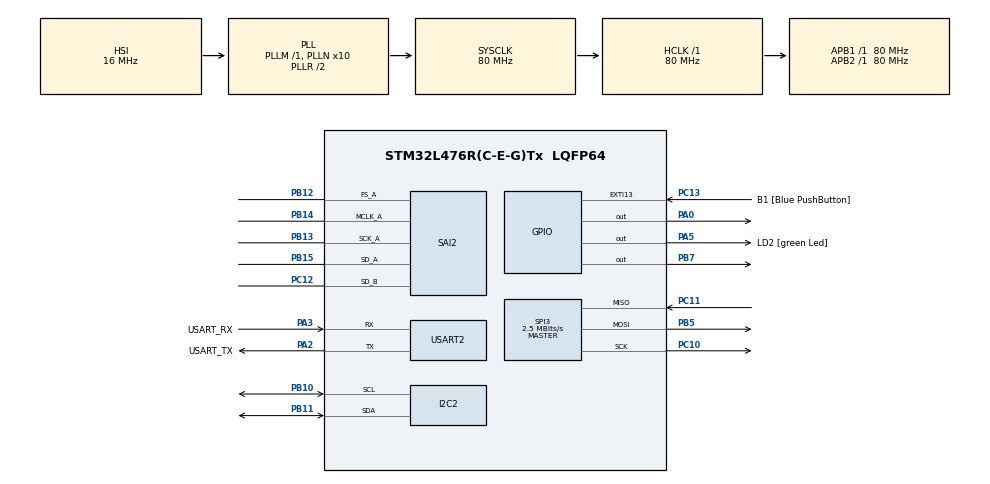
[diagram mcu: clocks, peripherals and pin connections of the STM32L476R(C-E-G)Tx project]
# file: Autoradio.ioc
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Dma.Request0=SAI2_A
Dma.Request1=SAI2_B
Dma.SAI2_A.0.Direction=DMA_MEMORY_TO_PERIPH
Dma.SAI2_A.0.Instance=DMA1_Channel6
Dma.SAI2_A.0.MemDataAlignment=DMA_MDATAALIGN_WORD
Dma.SAI2_A.0.MemInc=DMA_MINC_ENABLE
Dma.SAI2_A.0.Mode=DMA_CIRCULAR
Dma.SAI2_A.0.PeriphDataAlignment=DMA_PDATAALIGN_WORD
Dma.SAI2_A.0.PeriphInc=DMA_PINC_DISABLE
Dma.SAI2_A.0.Priority=DMA_PRIORITY_LOW
Dma.SAI2_B.1.Direction=DMA_PERIPH_TO_MEMORY
Dma.SAI2_B.1.Instance=DMA1_Channel7
Dma.SAI2_B.1.MemDataAlignment=DMA_MDATAALIGN_WORD
Dma.SAI2_B.1.MemInc=DMA_MINC_ENABLE
Dma.SAI2_B.1.Mode=DMA_CIRCULAR
Dma.SAI2_B.1.PeriphDataAlignment=DMA_PDATAALIGN_WORD
Dma.SAI2_B.1.PeriphInc=DMA_PINC_DISABLE
Dma.SAI2_B.1.Priority=DMA_PRIORITY_LOW
FREERTOS.Tasks01=defaultTask,0,128,StartDefaultTask,Default,NULL,Dynamic,NULL,NULL
I2C2.Timing=0x10D19CE4
Mcu.Family=STM32L4
Mcu.Name=STM32L476R(C-E-G)Tx
Mcu.Package=LQFP64
NVIC.DMA1_Channel6_IRQn=true\:5\:0\:false\:false\:true\:true\:false\:true\:true
NVIC.DMA1_Channel7_IRQn=true\:5\:0\:false\:false\:true\:true\:false\:true\:true
NVIC.PriorityGroup=NVIC_PRIORITYGROUP_4
NVIC.SAI2_IRQn=true\:5\:0\:false\:false\:true\:true\:true\:true\:true
NVIC.USART2_IRQn=true\:5\:0\:false\:false\:true\:true\:true\:true\:true
PA0.Signal=GPIO_Output
PA13\ (JTMS-SWDIO).GPIO_Label=TMS
PA13\ (JTMS-SWDIO).Mode=Serial_Wire
PA13\ (JTMS-SWDIO).Signal=SYS_JTMS-SWDIO
PA14\ (JTCK-SWCLK).GPIO_Label=TCK
PA14\ (JTCK-SWCLK).Mode=Serial_Wire
PA14\ (JTCK-SWCLK).Signal=SYS_JTCK-SWCLK
PA2.GPIO_Label=USART_TX
PA2.GPIO_Mode=GPIO_MODE_AF_PP
PA2.GPIO_PuPd=GPIO_NOPULL
PA2.GPIO_Speed=GPIO_SPEED_FREQ_VERY_HIGH
PA2.Mode=Asynchronous
PA2.Signal=USART2_TX
PA3.GPIO_Label=USART_RX
PA3.GPIO_Mode=GPIO_MODE_AF_PP
PA3.GPIO_PuPd=GPIO_NOPULL
PA3.GPIO_Speed=GPIO_SPEED_FREQ_VERY_HIGH
PA3.Mode=Asynchronous
PA3.Signal=USART2_RX
PA5.GPIO_Label=LD2 [green Led]
PA5.GPIO_ModeDefaultOutputPP=GPIO_MODE_OUTPUT_PP
PA5.GPIO_PuPd=GPIO_NOPULL
PA5.GPIO_Speed=GPIO_SPEED_FREQ_LOW
PA5.Signal=GPIO_Output
PB10.Mode=I2C
PB10.Signal=I2C2_SCL
PB11.Mode=I2C
PB11.Signal=I2C2_SDA
PB12.Mode=SAI_A_MasterWithClock
PB12.Signal=SAI2_FS_A
PB13.Mode=SAI_A_MasterWithClock
PB13.Signal=SAI2_SCK_A
PB14.Mode=SAI_A_MasterWithClock
PB14.Signal=SAI2_MCLK_A
PB15.Mode=SAI_A_MasterWithClock
PB15.Signal=SAI2_SD_A
PB3\ (JTDO-TRACESWO).GPIO_Label=SWO
PB3\ (JTDO-TRACESWO).Signal=SYS_JTDO-SWO
PB5.Mode=Full_Duplex_Master
PB5.Signal=SPI3_MOSI
PB7.Signal=GPIO_Output
PC10.Mode=Full_Duplex_Master
PC10.Signal=SPI3_SCK
PC11.Mode=Full_Duplex_Master
PC11.Signal=SPI3_MISO
PC12.Mode=SAI_B_SyncSlave
PC12.Signal=SAI2_SD_B
PC13.GPIO_Label=B1 [Blue PushButton]
PC13.GPIO_ModeDefaultEXTI=GPIO_MODE_IT_FALLING
PC13.GPIO_PuPd=GPIO_NOPULL
PC13.Signal=GPXTI13
PC14-OSC32_IN\ (PC14).Mode=LSE-External-Oscillator
PC14-OSC32_IN\ (PC14).Signal=RCC_OSC32_IN
PC15-OSC32_OUT\ (PC15).Mode=LSE-External-Oscillator
PC15-OSC32_OUT\ (PC15).Signal=RCC_OSC32_OUT
PH0-OSC_IN\ (PH0).Signal=RCC_OSC_IN
PH1-OSC_OUT\ (PH1).Signal=RCC_OSC_OUT
ProjectManager.HeapSize=0x200
ProjectManager.StackSize=0x400
ProjectManager.TargetToolchain=STM32CubeIDE
RCC.ADCFreq_Value=104000000
RCC.AHBFreq_Value=80000000
RCC.APB1Freq_Value=80000000
RCC.APB1TimFreq_Value=80000000
RCC.APB2Freq_Value=80000000
RCC.APB2TimFreq_Value=80000000
RCC.CortexFreq_Value=80000000
RCC.HCLKFreq_Value=80000000
RCC.HSE_VALUE=8000000
RCC.HSI_VALUE=16000000
RCC.MSI_VALUE=4000000
RCC.PLLN=10
RCC.PLLSAI1N=13
RCC.PLLSAI1P=RCC_PLLP_DIV17
RCC.PLLSourceVirtual=RCC_PLLSOURCE_HSI
RCC.PREFETCH_ENABLE=1
RCC.SYSCLKFreq_VALUE=80000000
RCC.SYSCLKSource=RCC_SYSCLKSOURCE_PLLCLK
RCC.USBFreq_Value=104000000
RCC.VCOOutputFreq_Value=160000000
SAI2.AudioFrequency-SAI_A_MasterWithClock=SAI_AUDIO_FREQUENCY_48K
SAI2.ErrorAudioFreq-SAI_A_MasterWithClock=-0.42 %
SAI2.InitProtocol-SAI_A_MasterWithClock=Enable
SAI2.InitProtocol-SAI_B_SyncSlave=Enable
SAI2.Instance-SAI_A_MasterWithClock=SAI$Index_Block_A
SAI2.Instance-SAI_B_SyncSlave=SAI$Index_Block_B
SAI2.MClockEnable-SAI_A_MasterWithClock=SAI_MASTERCLOCK_ENABLE
SAI2.RealAudioFreq-SAI_A_MasterWithClock=47.794 KHz
SAI2.VirtualMode-SAI_A_MasterWithClock=VM_MASTER
SAI2.VirtualMode-SAI_B_SyncSlave=VM_SLAVE
SAI2.VirtualProtocol-SAI_A_BASIC=VM_BASIC_PROTOCOL
SAI2.VirtualProtocol-SAI_B_BASIC=VM_BASIC_PROTOCOL
SPI3.BaudRatePrescaler=SPI_BAUDRATEPRESCALER_32
SPI3.CalculateBaudRate=2.5 MBits/s
SPI3.DataSize=SPI_DATASIZE_8BIT
SPI3.Direction=SPI_DIRECTION_2LINES
SPI3.Mode=SPI_MODE_MASTER
SPI3.VirtualType=VM_MASTER
USART2.VirtualMode-Asynchronous=VM_ASYNC
VP_FREERTOS_VS_CMSIS_V1.Mode=CMSIS_V1
VP_SAI2_VP_$IpInstance_SAIA_SAI_BASIC.Mode=SAI_A_BASIC
VP_SAI2_VP_$IpInstance_SAIB_SAI_BASIC.Mode=SAI_B_BASIC
board=NUCLEO-L476RG

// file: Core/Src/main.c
/* USER CODE BEGIN Header */
/**
  ******************************************************************************
  * @file           : main.c
  * @brief          : Main program body
  ******************************************************************************
  * @attention
  *
  * Copyright (c) 2025 STMicroelectronics.
  * All rights reserved.
  *
  * This software is licensed under terms that can be found in the LICENSE file
  * in the root directory of this software component.
  * If no LICENSE file comes with this software, it is provided AS-IS.
  *
  ******************************************************************************
  */
/* USER CODE END Header */
#include "main.h"
#include "cmsis_os.h"
#include "dma.h"
#include "i2c.h"
#include "sai.h"
#include "spi.h"
#include "usart.h"
#include "gpio.h"

/* USER CODE BEGIN Includes */
#include <stdio.h>
#include <stdlib.h>
#include "shell.h"
#include "sgtl5000.h"
#include <stdint.h>
/* USER CODE END Includes */

/* USER CODE BEGIN PD */
#define QUEUE_LENGTH 5
#define QUEUE_ITEM_SIZE sizeof(uint32_t)
#define BUFF_SIZE 2048

#define SAMPLE_RATE     48000.0f  // Fréquence d'échantillonnage (48kHz)
#define TRIANGLE_FREQ   220.0f // Fréquence du son (La 440)
#define AMPLITUDE       15000     // Volume max (int16 max est 32767)
/* USER CODE END PD */

/* USER CODE BEGIN PV */
QueueHandle_t counterQueue;
#define AUDIO_BUFFER_SIZE 2048
uint8_t tx_buffer[AUDIO_BUFFER_SIZE]; // Buffer d'émission (vers DAC/Codec)
uint8_t rx_buffer[AUDIO_BUFFER_SIZE]; // Buffer de réception (depuis ADC/Micro)
/* USER CODE END PV */

void SystemClock_Config(void);
void PeriphCommonClock_Config(void);
void MX_FREERTOS_Init(void);
/* USER CODE BEGIN PFP */
static int fonction(h_shell_t *shell, int argc, char **argv);
static int addition(h_shell_t *shell, int argc, char **argv);
static int led(h_shell_t *shell, int argc, char **argv);
void task_shell(void *unused);
/* USER CODE END PFP */

/* USER CODE BEGIN 0 */
int __io_putchar(int chr)
{
    HAL_UART_Transmit(&huart2, (uint8_t*)&chr, 1, HAL_MAX_DELAY);
    return chr;
}

static int fonction(h_shell_t *shell, int argc, char **argv)
{
    int size;
    size = snprintf(shell->print_buffer, BUFFER_SIZE, "Je suis une fonction bidon\r\n");
    shell_uart_write(shell->print_buffer, size);
    size = snprintf(shell->print_buffer, BUFFER_SIZE, "argc=%d\r\n", argc);
    shell_uart_write(shell->print_buffer, size);
    for (int i = 0; i < argc; i++)
    {
        size = snprintf(shell->print_buffer, BUFFER_SIZE, "argv[%d]=%s\r\n", i, argv[i]);
        shell_uart_write(shell->print_buffer, size);
    }
    return 0;
}

static int addition(h_shell_t *shell, int argc, char **argv)
{
    int sum = 0;
    for (int i = 1; i < argc; i++)
    {
        sum += atoi(argv[i]); // atoi conversion chaine de caractère en entier
    }
    int size = snprintf(shell->print_buffer, BUFFER_SIZE, "sum=%d\r\n", sum);
    shell_uart_write(shell->print_buffer, size);
    return 0;
}

void task_shell(void *unused)
{
    static h_shell_t shell_instance; // Instance statique de la structure

    shell_init(&shell_instance);
    shell_add(&shell_instance, 'f', fonction, "Une fonction inutile");
    shell_add(&shell_instance, 'a', addition, "Ma super addition");
    shell_add(&shell_instance, 'l', led, "put ledx in x");

    shell_run(&shell_instance); // Contient une boucle infinie

    // Ne sera jamais atteint, mais pour la forme
    vTaskDelete(NULL);
}

void HAL_UART_RxCpltCallback(UART_HandleTypeDef *huart)
{
    if (huart == &huart2)
    {
        shell_uart_rx_callback();
    }
}

static int led(h_shell_t *shell, int argc, char **argv)
{
	int size;
    for (int i = 0; i < argc; i++)
    {
        size = snprintf(shell->print_buffer, BUFFER_SIZE, "argv[%d]=%s\r\n", i, argv[i]);
        shell_uart_write(shell->print_buffer, size);
    }
	if (argc != 3){
		Error_Handler();
	}
	if (atoi(argv[2]) == 1){
		MCP23S17_SetLed(atoi(argv[1]));
		printf("La LED s'allume.\r\n");
	}
	else if (atoi(argv[2]) == 0){
		MCP23S17_ClearLed(atoi(argv[1]));
		printf("La LED s'éteint.\r\n");
	}
	return 0;
}

void Generate_Triangle_Wave(uint8_t *buffer, uint32_t sizeInBytes) {
    int16_t *pSample = (int16_t *)buffer;

    // 16 bits = 2 octets. Stereo = 2 canaux.
    // Donc 1 "Frame" audio (Gauche + Droite) = 4 octets.
    uint32_t totalFrames = sizeInBytes / 4;

    // On divise le buffer en deux phases : Montée et Descente
    uint32_t halfPeriod = totalFrames / 2;

    int16_t amplitude = 15000;
    float step = (float)(amplitude * 2) / (float)halfPeriod;
    float currentVal = -15000.0f;

    // Phase 1 : Montée
    for (uint32_t i = 0; i < halfPeriod; i++) {
        int16_t val = (int16_t)currentVal;

        pSample[i * 2]     = val; // Canal Gauche
        pSample[i * 2 + 1] = val; // Canal Droit (identique pour du mono centré)

        currentVal += step;
    }

    // Phase 2 : Descente
    currentVal = 15000.0f;
    for (uint32_t i = halfPeriod; i < totalFrames; i++) {
        int16_t val = (int16_t)currentVal;

        pSample[i * 2]     = val;
        pSample[i * 2 + 1] = val;

        currentVal -= step;
    }
}

/* USER CODE END 0 */

int main(void)
{

  /* MCU Configuration--------------------------------------------------------*/

  /* Reset of all peripherals, Initializes the Flash interface and the Systick. */
  HAL_Init();

  /* Configure the system clock */
  SystemClock_Config();

  /* Configure the peripherals common clocks */
  PeriphCommonClock_Config();

  /* Initialize all configured peripherals */
  MX_GPIO_Init();
  MX_DMA_Init();
  MX_USART2_UART_Init();
  MX_SPI3_Init();
  MX_I2C2_Init();
  MX_SAI2_Init();
  /* USER CODE BEGIN 2 */

  MCP23S17_Init();
  //HAL_Delay(1000);
  MCP23S17_SetAllPinsLow();
  //MCP23S17_SetLed(10);

  __HAL_SAI_ENABLE(&hsai_BlockA2);

  // Création de la queue
  counterQueue = xQueueCreate(QUEUE_LENGTH, QUEUE_ITEM_SIZE);
  if (counterQueue == NULL) {
      Error_Handler();
  }

  // Création de la tâche shell
  if (xTaskCreate(task_shell, "Shell", 512, NULL, 1, NULL) != pdPASS)
  {
      printf("Error creating task Shell\r\n");
      Error_Handler();
  }

  uint8_t chip_id = 0;
  HAL_I2C_Mem_Read(&hi2c2, 0x14, 0x0000, I2C_MEMADD_SIZE_16BIT, &chip_id, 1, HAL_MAX_DELAY);

  uint16_t sgtl_address = 0x14;
	uint16_t data;

	h_sgtl5000_t h_sgtl5000;
	h_sgtl5000.hi2c = &hi2c2;
	h_sgtl5000.dev_address = sgtl_address;

	sgtl5000_init(&h_sgtl5000);
	sgtl5000_i2c_write_register(&h_sgtl5000, SGTL5000_CHIP_ANA_CTRL, 0x0000); // SELECT_ADC=MIC

	//Generate_Triangle_Wave(tx_buffer, AUDIO_BUFFER_SIZE);
	//generateSquare(txBuffer, AUDIO_BUFFER_SIZE, 30000);
	if (HAL_SAI_Transmit_DMA(&hsai_BlockA2, tx_buffer, AUDIO_BUFFER_SIZE/ 4) != HAL_OK)
	{
		printf("Erreur demarrage SAI TX DMA\r\n");
		Error_Handler();
	}

	if (HAL_SAI_Receive_DMA(&hsai_BlockB2, rx_buffer, AUDIO_BUFFER_SIZE/ 4) != HAL_OK)
	{
		printf("Erreur demarrage SAI RX DMA\r\n");
		Error_Handler();
	}

  /* USER CODE END 2 */

  /* Call init function for freertos objects (in cmsis_os2.c) */
  MX_FREERTOS_Init();

  /* Start scheduler */
  osKernelStart();

  /* We should never get here as control is now taken by the scheduler */

  /* Infinite loop */
  while (1)
  {

  }
}

void SystemClock_Config(void)
{
  RCC_OscInitTypeDef RCC_OscInitStruct = {0};
  RCC_ClkInitTypeDef RCC_ClkInitStruct = {0};

  /** Configure the main internal regulator output voltage
  */
  if (HAL_PWREx_ControlVoltageScaling(PWR_REGULATOR_VOLTAGE_SCALE1) != HAL_OK)
  {
    Error_Handler();
  }

  /** Initializes the RCC Oscillators according to the specified parameters
  * in the RCC_OscInitTypeDef structure.
  */
  RCC_OscInitStruct.OscillatorType = RCC_OSCILLATORTYPE_HSI;
  RCC_OscInitStruct.HSIState = RCC_HSI_ON;
  RCC_OscInitStruct.HSICalibrationValue = RCC_HSICALIBRATION_DEFAULT;
  RCC_OscInitStruct.PLL.PLLState = RCC_PLL_ON;
  RCC_OscInitStruct.PLL.PLLSource = RCC_PLLSOURCE_HSI;
  RCC_OscInitStruct.PLL.PLLM = 1;
  RCC_OscInitStruct.PLL.PLLN = 10;
  RCC_OscInitStruct.PLL.PLLP = RCC_PLLP_DIV7;
  RCC_OscInitStruct.PLL.PLLQ = RCC_PLLQ_DIV2;
  RCC_OscInitStruct.PLL.PLLR = RCC_PLLR_DIV2;
  if (HAL_RCC_OscConfig(&RCC_OscInitStruct) != HAL_OK)
  {
    Error_Handler();
  }

  /** Initializes the CPU, AHB and APB buses clocks
  */
  RCC_ClkInitStruct.ClockType = RCC_CLOCKTYPE_HCLK|RCC_CLOCKTYPE_SYSCLK
                              |RCC_CLOCKTYPE_PCLK1|RCC_CLOCKTYPE_PCLK2;
  RCC_ClkInitStruct.SYSCLKSource = RCC_SYSCLKSOURCE_PLLCLK;
  RCC_ClkInitStruct.AHBCLKDivider = RCC_SYSCLK_DIV1;
  RCC_ClkInitStruct.APB1CLKDivider = RCC_HCLK_DIV1;
  RCC_ClkInitStruct.APB2CLKDivider = RCC_HCLK_DIV1;

  if (HAL_RCC_ClockConfig(&RCC_ClkInitStruct, FLASH_LATENCY_4) != HAL_OK)
  {
    Error_Handler();
  }
}

void PeriphCommonClock_Config(void)
{
  RCC_PeriphCLKInitTypeDef PeriphClkInit = {0};

  /** Initializes the peripherals clock
  */
  PeriphClkInit.PeriphClockSelection = RCC_PERIPHCLK_SAI2;
  PeriphClkInit.Sai2ClockSelection = RCC_SAI2CLKSOURCE_PLLSAI1;
  PeriphClkInit.PLLSAI1.PLLSAI1Source = RCC_PLLSOURCE_HSI;
  PeriphClkInit.PLLSAI1.PLLSAI1M = 1;
  PeriphClkInit.PLLSAI1.PLLSAI1N = 13;
  PeriphClkInit.PLLSAI1.PLLSAI1P = RCC_PLLP_DIV17;
  PeriphClkInit.PLLSAI1.PLLSAI1Q = RCC_PLLQ_DIV2;
  PeriphClkInit.PLLSAI1.PLLSAI1R = RCC_PLLR_DIV2;
  PeriphClkInit.PLLSAI1.PLLSAI1ClockOut = RCC_PLLSAI1_SAI1CLK;
  if (HAL_RCCEx_PeriphCLKConfig(&PeriphClkInit) != HAL_OK)
  {
    Error_Handler();
  }
}

void Error_Handler(void)
{
  __disable_irq();
  while (1)
  {
  }
}
